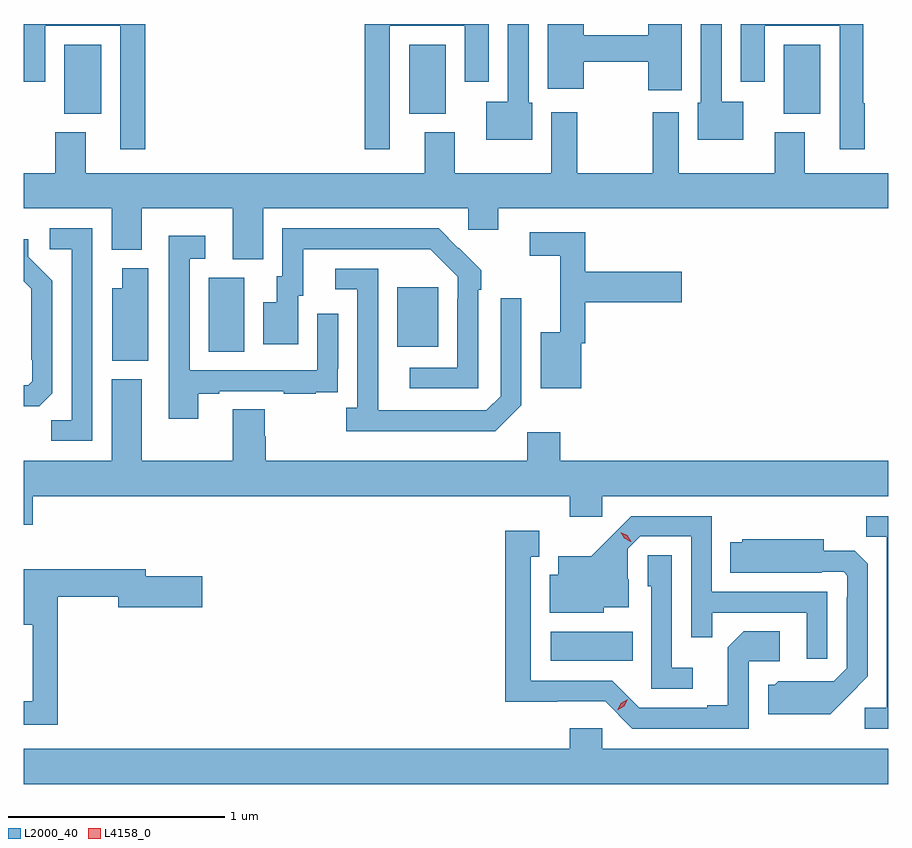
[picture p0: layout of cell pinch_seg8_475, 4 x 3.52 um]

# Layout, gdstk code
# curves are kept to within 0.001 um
import gdstk
lib = gdstk.Library(unit=1e-6, precision=1e-09)
def R(c, l, rs):  # rectangles x0, y0, x1, y1
    for r in rs: c.add(gdstk.rectangle(r[:2], r[2:], *l))
def P(c, l, *ps):  # polygons
    for p in ps: c.add(gdstk.Polygon(p, *l))
L2000_40 = (2000, 40)
L4158_0 = (4158, 0)

pinch_seg8_475 = lib.new_cell('pinch_seg8_475')
R(pinch_seg8_475, L2000_40, [(181.554,1134.386,181.934,1134.52), (179.972,1135.816,180.136,1136.16), (180.845,1135.841,181.033,1136.116), (179.303,1136.918,179.473,1137.238), (180.899,1136.918,181.069,1137.238), (182.633,1136.918,182.803,1137.238)])
P(pinch_seg8_475, L2000_40, [(182.446,1136.974),(182.346,1136.974),(182.346,1137.334),(182.25,1137.334),(182.25,1136.97),(182.234,1136.97),(182.234,1136.798),(182.446,1136.798)],
  [(183.008,1136.966),(183.001,1136.966),(183.001,1137.334),(182.435,1137.334),(182.435,1137.066),(182.545,1137.066),(182.545,1137.327),(182.892,1137.327),(182.892,1136.754),(183.008,1136.754)],
  [(181.468,1136.97),(181.452,1136.97),(181.452,1137.334),(181.356,1137.334),(181.356,1136.974),(181.256,1136.974),(181.256,1136.798),(181.468,1136.798)],
  [(180.81,1137.327),(181.157,1137.327),(181.157,1137.066),(181.267,1137.066),(181.267,1137.334),(180.694,1137.334),(180.694,1136.754),(180.81,1136.754)],
  [(182.161,1137.334),(182.005,1137.334),(182.005,1137.281),(181.708,1137.281),(181.708,1137.334),(181.541,1137.334),(181.541,1137.035),(181.708,1137.035),(181.708,1137.16),(182.005,1137.16),(182.005,1137.027),(182.161,1137.027)],
  [(179.678,1137.334),(179.116,1137.334),(179.116,1137.066),(179.215,1137.066),(179.215,1137.327),(179.562,1137.327),(179.562,1136.754),(179.678,1136.754)],
  [(180.223,1136.48),(181.173,1136.48),(181.173,1136.382),(181.312,1136.382),(181.312,1136.48),(183.116,1136.48),(183.116,1136.644),(182.731,1136.644),(182.731,1136.833),(182.591,1136.833),(182.591,1136.644),(182.146,1136.644),(182.146,1136.926),(182.026,1136.926),(182.026,1136.644),(181.677,1136.644),(181.677,1136.926),(181.556,1136.926),(181.556,1136.644),(181.111,1136.644),(181.111,1136.833),(180.971,1136.833),(180.971,1136.644),(179.401,1136.644),(179.401,1136.833),(179.261,1136.833),(179.261,1136.644),(179.116,1136.644),(179.116,1136.48),(179.522,1136.48),(179.522,1136.288),(179.662,1136.288),(179.662,1136.48),(180.083,1136.48),(180.083,1136.245),(180.223,1136.245)],
  [(179.433,1136.388),(179.235,1136.388),(179.235,1136.292),(179.337,1136.292),(179.337,1135.499),(179.242,1135.499),(179.242,1135.404),(179.433,1135.404)],
  [(181.218,1136.105),(181.233,1136.105),(181.233,1136.193),(181.036,1136.388),(180.312,1136.388),(180.312,1136.166),(180.287,1136.166),(180.287,1136.047),(180.224,1136.047),(180.224,1135.851),(180.385,1135.851),(180.385,1136.076),(180.409,1136.076),(180.409,1136.292),(180.997,1136.292),(181.125,1136.163),(181.125,1136.063),(181.122,1136.063),(181.122,1135.743),(180.903,1135.743),(180.903,1135.647),(181.218,1135.647)],
  [(181.696,1135.857),(181.715,1135.857),(181.715,1136.045),(182.161,1136.045),(182.161,1136.187),(181.715,1136.187),(181.715,1136.37),(181.458,1136.37),(181.458,1136.262),(181.598,1136.262),(181.598,1135.906),(181.508,1135.906),(181.508,1135.649),(181.696,1135.649)],
  [(179.923,1135.623),(180.019,1135.623),(180.019,1135.635),(180.319,1135.635),(180.319,1135.623),(180.467,1135.623),(180.467,1135.629),(180.569,1135.629),(180.569,1135.738),(180.57,1135.738),(180.57,1135.993),(180.474,1135.993),(180.474,1135.731),(179.883,1135.731),(179.883,1136.247),(179.956,1136.247),(179.956,1136.353),(179.787,1136.353),(179.787,1135.506),(179.923,1135.506)],
  [(179.247,1135.624),(179.247,1136.146),(179.137,1136.256),(179.137,1136.338),(179.116,1136.338),(179.116,1136.144),(179.151,1136.109),(179.151,1135.78),(179.154,1135.78),(179.154,1135.68),(179.136,1135.662),(179.116,1135.662),(179.116,1135.565),(179.188,1135.565)],
  [(179.692,1136.203),(179.57,1136.203),(179.57,1136.11),(179.525,1136.11),(179.525,1135.775),(179.692,1135.775)],
  [(181.419,1135.569),(181.419,1136.065),(181.323,1136.065),(181.323,1135.611),(181.257,1135.545),(180.757,1135.545),(180.756,1136.202),(180.558,1136.202),(180.558,1136.106),(180.66,1136.106),(180.66,1135.558),(180.609,1135.558),(180.609,1135.448),(181.298,1135.448)],
  [(179.156,1135.148),(181.643,1135.148),(181.643,1135.053),(181.794,1135.053),(181.794,1135.148),(183.116,1135.148),(183.116,1135.312),(181.598,1135.312),(181.598,1135.444),(181.446,1135.444),(181.446,1135.312),(180.236,1135.312),(180.236,1135.425),(180.231,1135.425),(180.231,1135.55),(180.083,1135.55),(180.083,1135.312),(179.662,1135.312),(179.662,1135.69),(179.522,1135.69),(179.522,1135.312),(179.116,1135.312),(179.116,1135.017),(179.156,1135.017)],
  [(182.835,1134.705),(182.301,1134.705),(182.301,1135.056),(181.928,1135.056),(181.741,1134.871),(181.589,1134.871),(181.589,1134.784),(181.55,1134.784),(181.55,1134.608),(181.8,1134.608),(181.8,1134.635),(181.915,1134.635),(181.915,1134.764),(181.911,1134.764),(181.911,1134.906),(181.968,1134.963),(182.205,1134.963),(182.205,1134.496),(182.303,1134.496),(182.303,1134.609),(182.739,1134.609),(182.739,1134.396),(182.835,1134.396)],
  [(183.116,1135.056),(183.016,1135.056),(183.016,1134.961),(183.111,1134.961),(183.111,1134.168),(183.009,1134.168),(183.009,1134.072),(183.116,1134.072)],
  [(182.472,1134.384),(182.614,1134.384),(182.614,1134.524),(182.449,1134.524),(182.373,1134.448),(182.373,1134.181),(182.279,1134.181),(182.279,1134.168),(181.965,1134.168),(181.839,1134.294),(181.462,1134.294),(181.462,1134.867),(181.501,1134.867),(181.501,1134.988),(181.344,1134.988),(181.344,1134.197),(181.806,1134.198),(181.932,1134.072),(182.472,1134.072)],
  [(182.929,1134.221),(183.021,1134.314),(183.021,1134.836),(182.962,1134.895),(182.818,1134.895),(182.818,1134.949),(182.442,1134.949),(182.442,1134.934),(182.386,1134.934),(182.386,1134.794),(182.81,1134.794),(182.81,1134.798),(182.91,1134.798),(182.928,1134.78),(182.928,1134.68),(182.925,1134.68),(182.925,1134.351),(182.865,1134.291),(182.608,1134.292),(182.592,1134.276),(182.561,1134.276),(182.561,1134.14),(182.849,1134.14)],
  [(182.212,1134.355),(182.115,1134.355),(182.115,1134.875),(182.004,1134.875),(182.004,1134.732),(182.019,1134.732),(182.019,1134.258),(182.212,1134.258)],
  [(179.273,1134.682),(179.552,1134.682),(179.552,1134.635),(179.941,1134.635),(179.941,1134.777),(179.68,1134.777),(179.68,1134.811),(179.116,1134.811),(179.116,1134.554),(179.156,1134.554),(179.156,1134.199),(179.116,1134.199),(179.116,1134.09),(179.273,1134.09)],
  [(183.116,1133.98),(181.794,1133.98),(181.794,1134.073),(181.643,1134.073),(181.643,1133.98),(179.116,1133.98),(179.116,1133.816),(183.116,1133.816)])
P(pinch_seg8_475, L4158_0, [(181.926,1134.938),(181.895,1134.953),(181.878,1134.982),(181.878,1134.982),(181.878,1134.982),(181.909,1134.967),(181.927,1134.938),(181.927,1134.938)],
  [(181.862,1134.157),(181.862,1134.157),(181.879,1134.19),(181.911,1134.209),(181.911,1134.209),(181.911,1134.208),(181.894,1134.176),(181.862,1134.157)])

lib.write_gds('pinch_seg8_475.gds')
